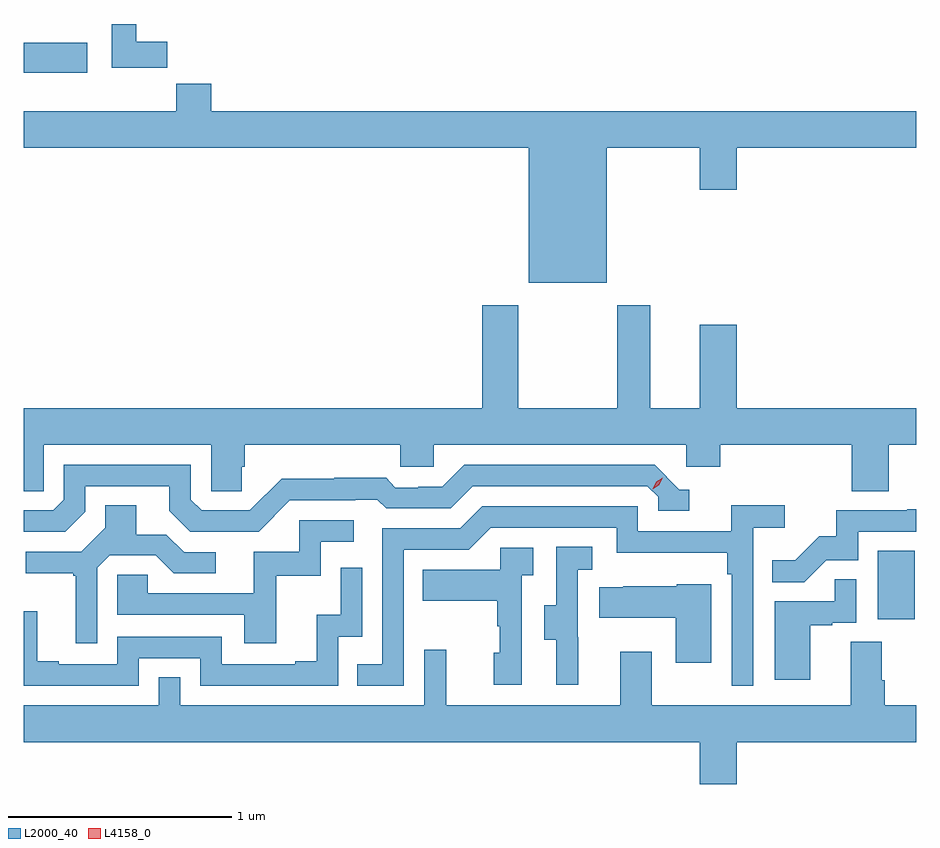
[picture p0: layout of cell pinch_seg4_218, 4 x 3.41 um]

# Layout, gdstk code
import gdstk
lib = gdstk.Library(unit=1e-6, precision=1e-09)
def R(c, l, rs):  # rectangles x0, y0, x1, y1
    for r in rs: c.add(gdstk.rectangle(r[:2], r[2:], *l))
def P(c, l, *ps):  # polygons
    for p in ps: c.add(gdstk.Polygon(p, *l))
L2000_40 = (2000, 40)
L4158_0 = (4158, 0)

pinch_seg4_218 = lib.new_cell('pinch_seg4_218')
R(pinch_seg4_218, L2000_40, [(1004.966,828.006,1005.13,828.313), (1001.137,830.456,1001.422,830.59)])
P(pinch_seg4_218, L2000_40, [(1001.78,830.596),(1001.641,830.596),(1001.641,830.675),(1001.531,830.675),(1001.531,830.478),(1001.78,830.478)],
  [(1003.75,830.12),(1004.168,830.12),(1004.168,829.932),(1004.332,829.932),(1004.332,830.12),(1005.137,830.12),(1005.137,830.284),(1001.978,830.284),(1001.978,830.408),(1001.821,830.408),(1001.821,830.284),(1001.137,830.284),(1001.137,830.12),(1003.4,830.12),(1003.4,829.514),(1003.75,829.514)],
  [(1004.332,829.327),(1004.168,829.327),(1004.168,828.952),(1003.945,828.952),(1003.945,829.414),(1003.798,829.414),(1003.798,828.952),(1003.353,828.952),(1003.353,829.414),(1003.193,829.414),(1003.193,828.952),(1001.137,828.952),(1001.137,828.58),(1001.226,828.58),(1001.226,828.788),(1001.976,828.788),(1001.976,828.58),(1002.113,828.58),(1002.113,828.69),(1002.128,828.69),(1002.128,828.788),(1002.825,828.788),(1002.825,828.69),(1002.975,828.69),(1002.975,828.788),(1004.106,828.788),(1004.106,828.69),(1004.258,828.69),(1004.258,828.788),(1004.849,828.788),(1004.849,828.58),(1005.014,828.58),(1005.014,828.788),(1005.137,828.788),(1005.137,828.952),(1004.332,828.952)],
  [(1001.412,828.489),(1001.412,828.603),(1001.789,828.603),(1001.789,828.493),(1001.883,828.399),(1002.189,828.399),(1002.33,828.54),(1002.623,828.54),(1002.623,828.543),(1002.722,828.543),(1002.761,828.504),(1003.05,828.504),(1003.149,828.603),(1003.932,828.603),(1003.98,828.555),(1003.98,828.492),(1004.119,828.492),(1004.119,828.588),(1004.076,828.588),(1003.965,828.699),(1003.112,828.699),(1003.013,828.6),(1002.906,828.6),(1002.906,828.597),(1002.803,828.597),(1002.761,828.64),(1002.528,828.64),(1002.528,828.637),(1002.292,828.637),(1002.15,828.495),(1001.934,828.495),(1001.886,828.543),(1001.886,828.699),(1001.316,828.699),(1001.316,828.543),(1001.268,828.495),(1001.137,828.495),(1001.137,828.399),(1001.322,828.399)],
  [(1001.466,828.237),(1001.523,828.294),(1001.729,828.294),(1001.81,828.213),(1001.998,828.213),(1001.998,828.306),(1001.856,828.306),(1001.776,828.386),(1001.641,828.386),(1001.641,828.518),(1001.501,828.518),(1001.501,828.416),(1001.394,828.309),(1001.145,828.309),(1001.145,828.212),(1001.358,828.212),(1001.358,828.201),(1001.369,828.201),(1001.369,827.898),(1001.466,827.898)],
  [(1002.84,828.318),(1003.131,828.318),(1003.23,828.417),(1003.794,828.417),(1003.794,828.305),(1004.29,828.305),(1004.29,828.209),(1004.31,828.209),(1004.31,827.709),(1004.406,827.709),(1004.406,828.416),(1004.548,828.416),(1004.548,828.518),(1004.309,828.518),(1004.309,828.402),(1003.89,828.402),(1003.89,828.513),(1003.193,828.513),(1003.094,828.414),(1002.744,828.414),(1002.744,827.805),(1002.631,827.805),(1002.631,827.709),(1002.84,827.709)],
  [(1004.733,828.27),(1004.877,828.27),(1004.877,828.399),(1005.137,828.399),(1005.137,828.5),(1005.097,828.5),(1005.097,828.495),(1004.779,828.495),(1004.779,828.378),(1004.702,828.378),(1004.595,828.271),(1004.491,828.271),(1004.491,828.172),(1004.635,828.172)],
  [(1002.269,828.201),(1002.468,828.201),(1002.468,828.354),(1002.616,828.354),(1002.616,828.45),(1002.372,828.45),(1002.372,828.309),(1002.167,828.309),(1002.167,828.123),(1001.693,828.123),(1001.693,828.207),(1001.556,828.207),(1001.556,828.027),(1002.125,828.027),(1002.125,827.898),(1002.269,827.898)],
  [(1003.622,827.925),(1003.62,827.925),(1003.62,828.229),(1003.684,828.229),(1003.684,828.332),(1003.524,828.332),(1003.524,828.069),(1003.469,828.069),(1003.469,827.914),(1003.523,827.914),(1003.523,827.712),(1003.622,827.712)],
  [(1003.368,828.203),(1003.42,828.203),(1003.42,828.327),(1003.272,828.327),(1003.272,828.229),(1002.925,828.229),(1002.925,828.089),(1003.26,828.089),(1003.26,827.975),(1003.27,827.975),(1003.27,827.856),(1003.244,827.856),(1003.244,827.712),(1003.368,827.712)],
  [(1001.652,827.832),(1001.928,827.832),(1001.928,827.709),(1002.546,827.709),(1002.546,827.928),(1002.654,827.928),(1002.654,828.238),(1002.558,828.238),(1002.558,828.026),(1002.449,828.026),(1002.449,827.818),(1002.353,827.818),(1002.353,827.805),(1002.024,827.805),(1002.024,827.928),(1001.556,827.928),(1001.556,827.805),(1001.293,827.805),(1001.293,827.818),(1001.197,827.818),(1001.197,828.043),(1001.137,828.043),(1001.137,827.709),(1001.652,827.709)],
  [(1004.662,827.979),(1004.762,827.979),(1004.762,827.991),(1004.868,827.991),(1004.868,828.185),(1004.773,828.185),(1004.773,828.087),(1004.504,828.087),(1004.504,827.736),(1004.662,827.736)],
  [(1004.218,828.163),(1004.064,828.163),(1004.064,828.154),(1003.825,828.154),(1003.825,828.151),(1003.717,828.151),(1003.717,828.014),(1004.06,828.014),(1004.06,827.811),(1004.218,827.811)],
  [(1004.332,827.456),(1005.137,827.456),(1005.137,827.62),(1004.996,827.62),(1004.996,827.732),(1004.983,827.732),(1004.983,827.906),(1004.843,827.906),(1004.843,827.62),(1003.951,827.62),(1003.951,827.86),(1003.811,827.86),(1003.811,827.62),(1003.031,827.62),(1003.031,827.869),(1002.933,827.869),(1002.933,827.62),(1001.838,827.62),(1001.838,827.747),(1001.742,827.747),(1001.742,827.62),(1001.137,827.62),(1001.137,827.456),(1004.168,827.456),(1004.168,827.268),(1004.332,827.268)])
P(pinch_seg4_218, L4158_0, [(1003.956,828.589),(1003.956,828.59),(1003.971,828.622),(1004.002,828.642),(1004.002,828.642),(1004.002,828.642),(1003.986,828.609),(1003.956,828.589)])

lib.write_gds('pinch_seg4_218.gds')
